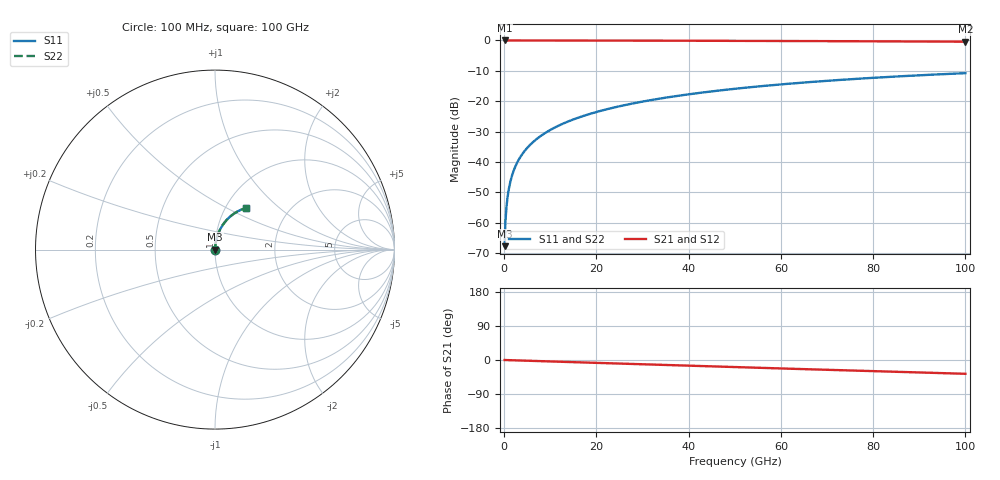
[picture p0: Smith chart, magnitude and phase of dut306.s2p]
! Touchstone file exported from HFSS 2026.1.0
!  File:  C:/ffzhzh/LocalFiles/Ansys_Project_Files/temp_train_TSV_306_1783509247_41296.aedt
!  Generated:  07:15:20 PM Jul  8, 2026
!  Design:  TSV
!  Project:  temp_train_TSV_306_1783509247_41296
! Variables:
!  h_bsmrdl = 2um
!  h_ox = 20um
!  h_rdl = 5um
!  h_sub = 57.01um
!  h_tmrdl = 5um
!  h_tsv = 57.01um
!  h_via = 3um
!  l_bsmrdl = 300um
!  l_sub = 413.2um
!  l_tmrdl = 200um
!  m_sub = 200um
!  pitch = 56.61um
!  r_tsv = 6.6um
!  s_tmrdl = 10um
!  w_bsmrdl = 18um
!  w_sub = 500um
!  w_tmrdl = 12um
!  x_tsv_center1 = 206um
!  x_tsv_center2 = 524um
!  x_tsv_center3 = 736um
!  x_tsv_center4 = 1054um
!  x_tsv_center5 = 1266um
!  x_tsv_center6 = 1584um
# GHz S MA R 50.000000
! Terminal data exported
! Port[1] = TSV1_1_T1
! Port[2] = TSV1_1_T2
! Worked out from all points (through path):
!   1000 points, 100 MHz to 100 GHz, reference 50 ohm
!   highest |S21| = 0.00 dB at 100 MHz (marker M1); lowest = -0.4 dB at 100 GHz (marker M2)
!   group delay of S21, straight-line fit = 1.01 ps
!   lowest |S11| = -67.7 dB at 100 MHz (marker M3), VSWR 1.00, Z = 50 + j0.0366 ohm
!   |S11| at or under -10 dB: start of sweep to end of sweep
!   |S22| runs from -67.7 to -10.8 dB; largest |S21 - S12| = 3.3e-15
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0.1  0.00041 63.3  0.9998 -0.0  0.9998 -0.0  0.00041 63.3
! Gamma 0 0 0 0
! Port Impedance 50 0 50 0
0.3  0.001097 79.0  0.9998 -0.1  0.9998 -0.1  0.001097 79.0
0.7  0.002485 84.2  0.9998 -0.3  0.9998 -0.3  0.002485 84.2
0.8  0.002833 84.6  0.9997 -0.3  0.9997 -0.3  0.002833 84.6
1  0.003526 85.3  0.9997 -0.4  0.9997 -0.4  0.003526 85.3
1.3  0.004563 85.8  0.9997 -0.5  0.9997 -0.5  0.004563 85.8
1.7  0.005937 86.0  0.9996 -0.7  0.9996 -0.7  0.005937 86.0
2.3  0.007979 86.2  0.9996 -0.9  0.9996 -0.9  0.007979 86.2
3  0.01034 86.2  0.9995 -1.2  0.9995 -1.2  0.01034 86.2
3.8  0.01302 86.1  0.9994 -1.5  0.9994 -1.5  0.01302 86.1
4.8  0.01635 86.0  0.9992 -1.8  0.9992 -1.8  0.01635 86.0
6  0.02034 85.8  0.9991 -2.3  0.9991 -2.3  0.02034 85.8
8.8  0.02963 85.0  0.9987 -3.3  0.9987 -3.3  0.02963 85.0
12.4  0.04151 83.9  0.9981 -4.7  0.9981 -4.7  0.04151 83.9
16.8  0.05592 82.4  0.9973 -6.4  0.9973 -6.4  0.05592 82.4
24.2  0.07992 79.9  0.9954 -9.1  0.9954 -9.1  0.07992 79.9
33.4  0.1092 76.6  0.9924 -12.6  0.9924 -12.6  0.1092 76.6
41.2  0.1334 73.8  0.9892 -15.4  0.9892 -15.4  0.1334 73.8
50.1  0.1602 70.6  0.9851 -18.7  0.9851 -18.7  0.1602 70.6
66.7  0.2076 64.7  0.976 -24.7  0.976 -24.7  0.2076 64.7
83.4  0.251 58.8  0.9655 -30.6  0.9655 -30.6  0.251 58.8
100  0.2893 53.2  0.9545 -36.4  0.9545 -36.4  0.2893 53.1
